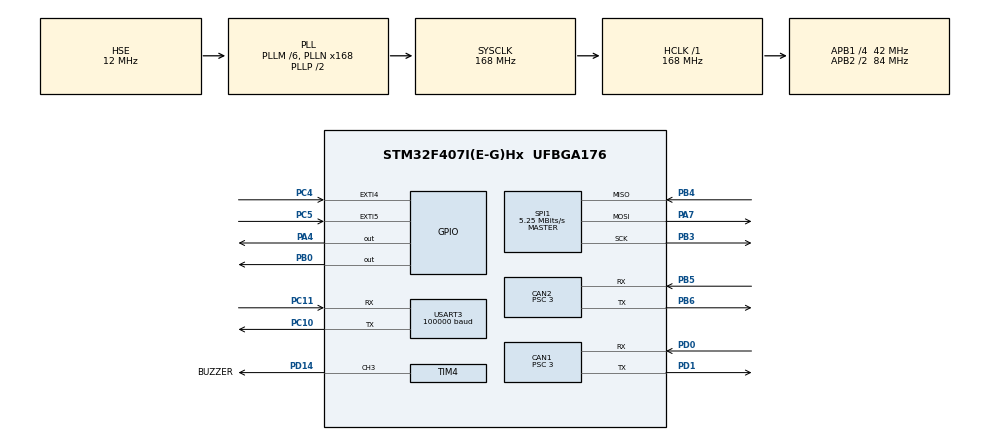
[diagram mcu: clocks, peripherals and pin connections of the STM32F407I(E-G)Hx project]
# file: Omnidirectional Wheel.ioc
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CAN1.ABOM=ENABLE
CAN1.BS1=CAN_BS1_9TQ
CAN1.BS2=CAN_BS2_4TQ
CAN1.CalculateBaudRate=1000000
CAN1.CalculateTimeBit=1000
CAN1.CalculateTimeQuantum=71.42857142857143
CAN1.NART=ENABLE
CAN1.Prescaler=3
CAN1.TXFP=ENABLE
CAN2.ABOM=ENABLE
CAN2.BS1=CAN_BS1_9TQ
CAN2.BS2=CAN_BS2_4TQ
CAN2.CalculateBaudRate=1000000
CAN2.CalculateTimeBit=1000
CAN2.CalculateTimeQuantum=71.42857142857143
CAN2.NART=ENABLE
CAN2.Prescaler=3
CAN2.TXFP=ENABLE
Dma.Request0=USART3_RX
Dma.Request1=SPI1_RX
Dma.Request2=SPI1_TX
Dma.SPI1_RX.1.Direction=DMA_PERIPH_TO_MEMORY
Dma.SPI1_RX.1.FIFOMode=DMA_FIFOMODE_DISABLE
Dma.SPI1_RX.1.Instance=DMA2_Stream0
Dma.SPI1_RX.1.MemDataAlignment=DMA_MDATAALIGN_BYTE
Dma.SPI1_RX.1.MemInc=DMA_MINC_ENABLE
Dma.SPI1_RX.1.Mode=DMA_NORMAL
Dma.SPI1_RX.1.PeriphDataAlignment=DMA_PDATAALIGN_BYTE
Dma.SPI1_RX.1.PeriphInc=DMA_PINC_DISABLE
Dma.SPI1_RX.1.Priority=DMA_PRIORITY_VERY_HIGH
Dma.SPI1_TX.2.Direction=DMA_MEMORY_TO_PERIPH
Dma.SPI1_TX.2.FIFOMode=DMA_FIFOMODE_DISABLE
Dma.SPI1_TX.2.Instance=DMA2_Stream3
Dma.SPI1_TX.2.MemDataAlignment=DMA_MDATAALIGN_BYTE
Dma.SPI1_TX.2.MemInc=DMA_MINC_ENABLE
Dma.SPI1_TX.2.Mode=DMA_NORMAL
Dma.SPI1_TX.2.PeriphDataAlignment=DMA_PDATAALIGN_BYTE
Dma.SPI1_TX.2.PeriphInc=DMA_PINC_DISABLE
Dma.SPI1_TX.2.Priority=DMA_PRIORITY_HIGH
Dma.USART3_RX.0.Direction=DMA_PERIPH_TO_MEMORY
Dma.USART3_RX.0.FIFOMode=DMA_FIFOMODE_DISABLE
Dma.USART3_RX.0.Instance=DMA1_Stream1
Dma.USART3_RX.0.MemDataAlignment=DMA_MDATAALIGN_BYTE
Dma.USART3_RX.0.MemInc=DMA_MINC_ENABLE
Dma.USART3_RX.0.Mode=DMA_CIRCULAR
Dma.USART3_RX.0.PeriphDataAlignment=DMA_PDATAALIGN_BYTE
Dma.USART3_RX.0.PeriphInc=DMA_PINC_DISABLE
Dma.USART3_RX.0.Priority=DMA_PRIORITY_HIGH
FREERTOS.Tasks01=defaultTask,0,512,StartDefaultTask,Default,NULL,Dynamic,NULL,NULL;IMUTask,0,1024,OS_IMUCallback,As weak,NULL,Dynamic,NULL,NULL;BeepTask,0,128,OS_BeepCallback,As weak,NULL,Dynamic,NULL,NULL;MotorTask,0,512,OS_MotorCallback,As weak,NULL,Dynamic,NULL,NULL;ErrorTask,3,256,OS_ErrorCallback,As weak,NULL,Dynamic,NULL,NULL;Chassis,0,256,OS_ChassisCallback,As weak,NULL,Dynamic,NULL,NULL;Gimbal,0,256,OS_GimbalCallback,As weak,NULL,Dynamic,NULL,NULL;RcTask,1,256,OS_RcCallback,As weak,NULL,Dynamic,NULL,NULL
FREERTOS.configTOTAL_HEAP_SIZE=32768
Mcu.Family=STM32F4
Mcu.Name=STM32F407I(E-G)Hx
Mcu.Package=UFBGA176
NVIC.CAN1_RX0_IRQn=true\:5\:0\:false\:false\:true\:true\:true\:true\:true
NVIC.CAN2_RX0_IRQn=true\:5\:0\:false\:false\:true\:true\:true\:true\:true
NVIC.DMA1_Stream1_IRQn=true\:5\:0\:false\:false\:true\:true\:false\:true\:true
NVIC.DMA2_Stream0_IRQn=true\:5\:0\:false\:false\:true\:true\:false\:true\:true
NVIC.DMA2_Stream3_IRQn=true\:5\:0\:false\:false\:true\:true\:false\:true\:true
NVIC.PriorityGroup=NVIC_PRIORITYGROUP_4
NVIC.TIM6_DAC_IRQn=true\:5\:0\:false\:false\:true\:true\:true\:true\:true
NVIC.TIM7_IRQn=true\:15\:0\:false\:false\:true\:false\:false\:true\:true
NVIC.TimeBase=TIM7_IRQn
NVIC.TimeBaseIP=TIM7
NVIC.USART3_IRQn=true\:5\:0\:false\:false\:true\:true\:true\:true\:true
PA13.Mode=Serial_Wire
PA13.Signal=SYS_JTMS-SWDIO
PA14.Mode=Serial_Wire
PA14.Signal=SYS_JTCK-SWCLK
PA4.GPIO_PuPd=GPIO_PULLUP
PA4.GPIO_Speed=GPIO_SPEED_FREQ_HIGH
PA4.PinState=GPIO_PIN_SET
PA4.Signal=GPIO_Output
PA7.Mode=Full_Duplex_Master
PA7.Signal=SPI1_MOSI
PB0.GPIO_PuPd=GPIO_PULLUP
PB0.GPIO_Speed=GPIO_SPEED_FREQ_HIGH
PB0.PinState=GPIO_PIN_SET
PB0.Signal=GPIO_Output
PB3.Mode=Full_Duplex_Master
PB3.Signal=SPI1_SCK
PB4.Mode=Full_Duplex_Master
PB4.Signal=SPI1_MISO
PB5.Mode=CAN_Activate
PB5.Signal=CAN2_RX
PB6.Mode=CAN_Activate
PB6.Signal=CAN2_TX
PC10.Mode=Asynchronous
PC10.Signal=USART3_TX
PC11.Mode=Asynchronous
PC11.Signal=USART3_RX
PC4.Signal=GPXTI4
PC5.Signal=GPXTI5
PD0.Mode=CAN_Activate
PD0.Signal=CAN1_RX
PD1.Mode=CAN_Activate
PD1.Signal=CAN1_TX
PD14.GPIO_Label=BUZZER
PD14.Signal=S_TIM4_CH3
PH0-OSC_IN.Mode=HSE-External-Oscillator
PH0-OSC_IN.Signal=RCC_OSC_IN
PH1-OSC_OUT.Mode=HSE-External-Oscillator
PH1-OSC_OUT.Signal=RCC_OSC_OUT
ProjectManager.HeapSize=0x200
ProjectManager.StackSize=0x400
ProjectManager.TargetToolchain=MDK-ARM V5.32
RCC.48MHZClocksFreq_Value=84000000
RCC.AHBFreq_Value=168000000
RCC.APB1CLKDivider=RCC_HCLK_DIV4
RCC.APB1Freq_Value=42000000
RCC.APB1TimFreq_Value=84000000
RCC.APB2CLKDivider=RCC_HCLK_DIV2
RCC.APB2Freq_Value=84000000
RCC.APB2TimFreq_Value=168000000
RCC.CortexFreq_Value=168000000
RCC.HCLKFreq_Value=168000000
RCC.HSE_VALUE=12000000
RCC.HSI_VALUE=16000000
RCC.LSE_VALUE=32768
RCC.PLLM=6
RCC.PLLN=168
RCC.PLLSourceVirtual=RCC_PLLSOURCE_HSE
RCC.SYSCLKFreq_VALUE=168000000
RCC.SYSCLKSource=RCC_SYSCLKSOURCE_PLLCLK
RCC.VCOOutputFreq_Value=336000000
SH.S_TIM4_CH3.0=TIM4_CH3,PWM Generation3 CH3
SPI1.BaudRatePrescaler=SPI_BAUDRATEPRESCALER_16
SPI1.CLKPhase=SPI_PHASE_2EDGE
SPI1.CLKPolarity=SPI_POLARITY_HIGH
SPI1.CalculateBaudRate=5.25 MBits/s
SPI1.Direction=SPI_DIRECTION_2LINES
SPI1.Mode=SPI_MODE_MASTER
SPI1.VirtualType=VM_MASTER
TIM4.Channel-PWM\ Generation3\ CH3=TIM_CHANNEL_3
TIM4.Period=250-1
TIM4.Prescaler=84-1
TIM4.Pulse-PWM\ Generation3\ CH3=125
TIM6.Period=2000-1
TIM6.Prescaler=84-1
USART3.BaudRate=100000
USART3.Parity=PARITY_EVEN
USART3.VirtualMode=VM_ASYNC
USART3.WordLength=WORDLENGTH_9B
VP_FREERTOS_VS_CMSIS_V1.Mode=CMSIS_V1
VP_SYS_VS_tim7.Mode=TIM7
VP_TIM4_VS_ClockSourceINT.Mode=Internal
VP_TIM6_VS_ClockSourceINT.Mode=Enable_Timer
board=custom

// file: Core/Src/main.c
/* USER CODE BEGIN Header */
/**
  ******************************************************************************
  * @file           : main.c
  * @brief          : Main program body (RTOS version)
  ******************************************************************************
  * @attention
  *
  * Copyright (c) 2026 STMicroelectronics.
  * All rights reserved.
  *
  * This software is licensed under terms that can be found in the LICENSE file
  * in the root directory of this software component.
  * If no LICENSE file comes with this software, it is provided AS-IS.
  *
  ******************************************************************************
  */
/* USER CODE END Header */
#include "main.h"
#include "cmsis_os.h"
#include "can.h"
#include "dma.h"
#include "spi.h"
#include "tim.h"
#include "usart.h"
#include "gpio.h"

/* USER CODE BEGIN Includes */
#include "Buzzer.h"
#include "Error.h"
#include "Remote.h"
#include "USER_CAN.h"
/* USER CODE END Includes */

void SystemClock_Config(void);
void MX_FREERTOS_Init(void);

int main(void)
{

  /* MCU Configuration--------------------------------------------------------*/

  /* Reset of all peripherals, Initializes the Flash interface and the Systick. */
  HAL_Init();

  /* Configure the system clock */
  SystemClock_Config();

  /* Initialize all configured peripherals */
  MX_GPIO_Init();
  MX_DMA_Init();
  MX_CAN1_Init();
  MX_CAN2_Init();
  MX_USART3_UART_Init();
  MX_TIM4_Init();
  MX_TIM6_Init();
  MX_SPI1_Init();
  /* USER CODE BEGIN 2 */
  CAN1_Init();
  CAN2_Init();
  Remote_Init();
  Buzzer_Init();
  Error_Init();
  /* USER CODE END 2 */

  /* Call init function for freertos objects (in cmsis_os2.c) */
  MX_FREERTOS_Init();

  /* Start scheduler */
  osKernelStart();

  /* We should never get here as control is now taken by the scheduler */

  /* Infinite loop */
  while (1)
  {

  }
}

void SystemClock_Config(void)
{
  RCC_OscInitTypeDef RCC_OscInitStruct = {0};
  RCC_ClkInitTypeDef RCC_ClkInitStruct = {0};

  /** Configure the main internal regulator output voltage
  */
  __HAL_RCC_PWR_CLK_ENABLE();
  __HAL_PWR_VOLTAGESCALING_CONFIG(PWR_REGULATOR_VOLTAGE_SCALE1);

  /** Initializes the RCC Oscillators according to the specified parameters
  * in the RCC_OscInitTypeDef structure.
  */
  RCC_OscInitStruct.OscillatorType = RCC_OSCILLATORTYPE_HSE;
  RCC_OscInitStruct.HSEState = RCC_HSE_ON;
  RCC_OscInitStruct.PLL.PLLState = RCC_PLL_ON;
  RCC_OscInitStruct.PLL.PLLSource = RCC_PLLSOURCE_HSE;
  RCC_OscInitStruct.PLL.PLLM = 6;
  RCC_OscInitStruct.PLL.PLLN = 168;
  RCC_OscInitStruct.PLL.PLLP = RCC_PLLP_DIV2;
  RCC_OscInitStruct.PLL.PLLQ = 4;
  if (HAL_RCC_OscConfig(&RCC_OscInitStruct) != HAL_OK)
  {
    Error_Handler();
  }

  /** Initializes the CPU, AHB and APB buses clocks
  */
  RCC_ClkInitStruct.ClockType = RCC_CLOCKTYPE_HCLK|RCC_CLOCKTYPE_SYSCLK
                              |RCC_CLOCKTYPE_PCLK1|RCC_CLOCKTYPE_PCLK2;
  RCC_ClkInitStruct.SYSCLKSource = RCC_SYSCLKSOURCE_PLLCLK;
  RCC_ClkInitStruct.AHBCLKDivider = RCC_SYSCLK_DIV1;
  RCC_ClkInitStruct.APB1CLKDivider = RCC_HCLK_DIV4;
  RCC_ClkInitStruct.APB2CLKDivider = RCC_HCLK_DIV2;

  if (HAL_RCC_ClockConfig(&RCC_ClkInitStruct, FLASH_LATENCY_5) != HAL_OK)
  {
    Error_Handler();
  }
}

void HAL_TIM_PeriodElapsedCallback(TIM_HandleTypeDef *htim)
{
  if (htim->Instance == TIM7)
  {
    HAL_IncTick();
  }
}

void Error_Handler(void)
{
  __disable_irq();
  while (1)
  {
  }
}

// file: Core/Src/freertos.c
/* USER CODE BEGIN Header */
/**
  ******************************************************************************
  * File Name          : freertos.c
  * Description        : Code for freertos applications
  ******************************************************************************
  * @attention
  *
  * Copyright (c) 2026 STMicroelectronics.
  * All rights reserved.
  *
  * This software is licensed under terms that can be found in the LICENSE file
  * in the root directory of this software component.
  * If no LICENSE file comes with this software, it is provided AS-IS.
  *
  ******************************************************************************
  */
/* USER CODE END Header */

#include "FreeRTOS.h"
#include "task.h"
#include "main.h"
#include "cmsis_os.h"

/* USER CODE BEGIN Includes */
#include "BMI088driver.h"
#include "imu_temp_ctrl.h"
#include "Buzzer.h"
/* USER CODE END Includes */

osThreadId IMUTaskHandle;
osThreadId MotorTaskHandle;
osThreadId ErrorTaskHandle;
osThreadId ChassisHandle;
osThreadId GimbalHandle;
osThreadId RcTaskHandle;

void OS_IMUCallback(void const * argument);
void OS_MotorCallback(void const * argument);
void OS_ErrorCallback(void const * argument);
void OS_ChassisCallback(void const * argument);
void OS_GimbalCallback(void const * argument);
void OS_RcCallback(void const * argument);

void MX_FREERTOS_Init(void); /* (MISRA C 2004 rule 8.1) */

/* GetIdleTaskMemory prototype (linked to static allocation support) */
void vApplicationGetIdleTaskMemory( StaticTask_t **ppxIdleTaskTCBBuffer, StackType_t **ppxIdleTaskStackBuffer, uint32_t *pulIdleTaskStackSize );

/* USER CODE BEGIN GET_IDLE_TASK_MEMORY */
static StaticTask_t xIdleTaskTCBBuffer;
static StackType_t xIdleStack[configMINIMAL_STACK_SIZE];

void vApplicationGetIdleTaskMemory( StaticTask_t **ppxIdleTaskTCBBuffer, StackType_t **ppxIdleTaskStackBuffer, uint32_t *pulIdleTaskStackSize )
{
  *ppxIdleTaskTCBBuffer = &xIdleTaskTCBBuffer;
  *ppxIdleTaskStackBuffer = &xIdleStack[0];
  *pulIdleTaskStackSize = configMINIMAL_STACK_SIZE;
  /* place for user code */
}
/* USER CODE END GET_IDLE_TASK_MEMORY */

void MX_FREERTOS_Init(void) {

  /* Create the thread(s) */
  /* definition and creation of IMUTask */
  osThreadDef(IMUTask, OS_IMUCallback, osPriorityHigh, 0, 1024);
  IMUTaskHandle = osThreadCreate(osThread(IMUTask), NULL);

  /* definition and creation of MotorTask */
  osThreadDef(MotorTask, OS_MotorCallback, osPriorityNormal, 0, 512);
  MotorTaskHandle = osThreadCreate(osThread(MotorTask), NULL);

  /* definition and creation of ErrorTask */
  osThreadDef(ErrorTask, OS_ErrorCallback, osPriorityRealtime, 0, 256);
  ErrorTaskHandle = osThreadCreate(osThread(ErrorTask), NULL);

  /* definition and creation of Chassis */
  osThreadDef(Chassis, OS_ChassisCallback, osPriorityNormal, 0, 256);
  ChassisHandle = osThreadCreate(osThread(Chassis), NULL);

  /* definition and creation of Gimbal */
  osThreadDef(Gimbal, OS_GimbalCallback, osPriorityNormal, 0, 256);
  GimbalHandle = osThreadCreate(osThread(Gimbal), NULL);

  /* definition and creation of RcTask */
  /* 遥控输入层要抢在控制环前拿到最新帧，优先级高于 Chassis/Gimbal */
  osThreadDef(RcTask, OS_RcCallback, osPriorityAboveNormal, 0, 256);
  RcTaskHandle = osThreadCreate(osThread(RcTask), NULL);

}

__weak void OS_IMUCallback(void const * argument)
{
  /* USER CODE BEGIN OS_IMUCallback */
  (void)argument;
  for(;;)
  {
    vTaskSuspend(NULL);
  }
  /* USER CODE END OS_IMUCallback */
}

__weak void OS_MotorCallback(void const * argument)
{
  /* USER CODE BEGIN OS_MotorCallback */
  (void)argument;
  for(;;)
  {
    vTaskSuspend(NULL);
  }
  /* USER CODE END OS_MotorCallback */
}

__weak void OS_ErrorCallback(void const * argument)
{
  /* USER CODE BEGIN OS_ErrorCallback */
  (void)argument;
  for(;;)
  {
    vTaskSuspend(NULL);
  }
  /* USER CODE END OS_ErrorCallback */
}

__weak void OS_ChassisCallback(void const * argument)
{
  /* USER CODE BEGIN OS_ChassisCallback */
  (void)argument;
  for(;;)
  {
    vTaskSuspend(NULL);
  }
  /* USER CODE END OS_ChassisCallback */
}

__weak void OS_GimbalCallback(void const * argument)
{
  /* USER CODE BEGIN OS_GimbalCallback */
  (void)argument;
  for(;;)
  {
    vTaskSuspend(NULL);
  }
  /* USER CODE END OS_GimbalCallback */
}

__weak void OS_RcCallback(void const * argument)
{
  /* USER CODE BEGIN OS_RcCallback */
  (void)argument;
  for(;;)
  {
    vTaskSuspend(NULL);
  }
  /* USER CODE END OS_RcCallback */
}

/* USER CODE BEGIN Application */

void vApplicationStackOverflowHook(TaskHandle_t task,
                                   char *task_name)
{
  (void)task;
  (void)task_name;

  taskDISABLE_INTERRUPTS();
  for (;;)
  {
  }
}

/* USER CODE END Application */
